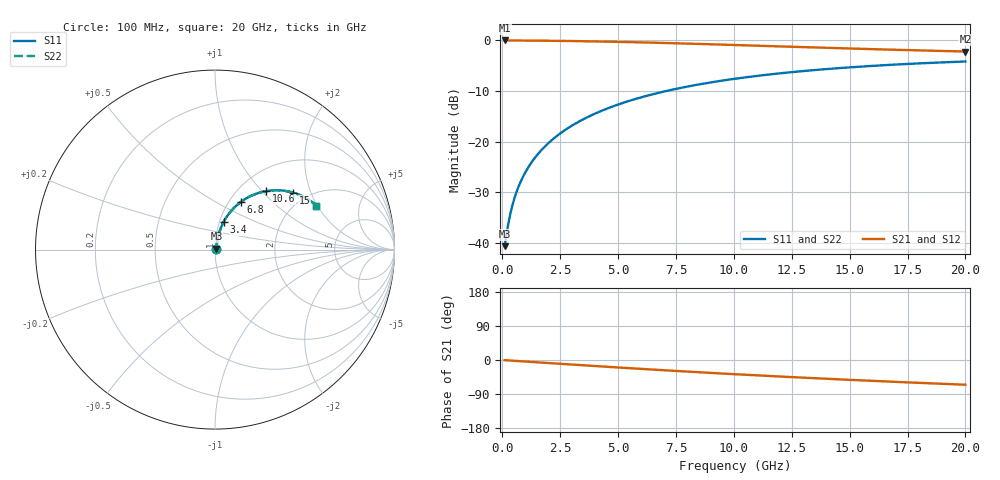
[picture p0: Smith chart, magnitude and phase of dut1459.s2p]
! Touchstone file exported from HFSS 2026.1.0
!  File:  C:/ffzhzh/LocalFiles/Ansys_Project_Files/temp_train_BSMRDL_1459_1783180872_43440.aedt
!  Generated:  12:02:40 AM Jul  5, 2026
!  Design:  BSMRDL
!  Project:  temp_train_BSMRDL_1459_1783180872_43440
! Variables:
!  h_bsmrdl = 2.83um
!  h_ox = 20um
!  h_rdl = 5um
!  h_sub = 80um
!  h_tmrdl = 5um
!  h_tsv = 80um
!  h_via = 3um
!  l_bsmrdl = 989.82um
!  l_sub = 1389.82um
!  l_tmrdl = 200um
!  m_sub = 200um
!  pitch = 51.94um
!  r_tsv = 6um
!  s_tmrdl = 10um
!  w_bsmrdl = 15.9um
!  w_sub = 500um
!  w_tmrdl = 12um
!  x_tsv_center1 = 206um
!  x_tsv_center2 = 1211.72um
!  x_tsv_center3 = 1423.72um
!  x_tsv_center4 = 2429.44um
!  x_tsv_center5 = 2641.44um
!  x_tsv_center6 = 3647.16um
# GHz S MA R 50.000000
! Terminal data exported
! Port[1] = BSM_RDL1_1_T1
! Port[2] = BSM_RDL1_1_T2
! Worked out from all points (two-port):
!   200 points, 100 MHz to 20 GHz, reference 50 ohm
!   highest |S21| = -0.07 dB at 100 MHz (marker M1); lowest = -2.2 dB at 20 GHz (marker M2)
!   |S21| within 3 dB of the highest: start of sweep to end of sweep
!   lowest |S11| = -40.6 dB at 100 MHz (marker M3), VSWR 1.02, Z = 50.8 + j0.519 ohm
!   |S11| at or under -10 dB: start of sweep to 7.099 GHz
!   |S22| runs from -40.6 to -4.2 dB; largest |S21 - S12| = 4.5e-15
!   S11 on the Smith chart (normalised r, x): 100 MHz: 1.02, +0.01; 3.4 GHz: 1.05, +0.33; 6.8 GHz: 1.13, +0.67; 10.6 GHz: 1.32, +1.06; 15 GHz: 1.69, +1.52; 20 GHz: 2.49, +1.97
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0.1  0.009363 33.0  0.9922 -0.4  0.9922 -0.4  0.009363 33.0
! Gamma 0 0 0 0
! Port Impedance 50 0 50 0
0.2  0.01299 51.5  0.992 -0.8  0.992 -0.8  0.01299 51.5
0.3  0.01736 60.8  0.9917 -1.3  0.9917 -1.3  0.01736 60.8
0.4  0.02196 66.0  0.9914 -1.7  0.9914 -1.7  0.02196 66.0
0.5  0.02663 69.2  0.9911 -2.1  0.9911 -2.1  0.02663 69.2
0.6  0.03133 71.3  0.9908 -2.5  0.9908 -2.5  0.03133 71.3
0.8  0.04073 73.9  0.9902 -3.3  0.9902 -3.3  0.04073 73.9
1.1  0.05485 75.7  0.9892 -4.5  0.9892 -4.5  0.05485 75.7
1.6  0.07841 76.4  0.9872 -6.5  0.9872 -6.5  0.07841 76.4
2.1  0.1019 75.9  0.9849 -8.5  0.9849 -8.5  0.1019 75.9
2.7  0.1298 74.6  0.9813 -10.8  0.9813 -10.8  0.1298 74.6
3.4  0.1619 72.7  0.9763 -13.6  0.9763 -13.6  0.1619 72.7
3.5  0.1664 72.4  0.9755 -14.0  0.9755 -14.0  0.1664 72.3
5  0.2321 67.4  0.9613 -19.7  0.9613 -19.7  0.2321 67.4
6.8  0.3049 61.3  0.9399 -26.4  0.9399 -26.4  0.3049 61.3
8.3  0.3596 56.2  0.9198 -31.7  0.9198 -31.7  0.3596 56.2
10.1  0.4181 50.4  0.8942 -37.7  0.8942 -37.7  0.4181 50.4
10.6  0.4329 48.8  0.887 -39.3  0.887 -39.3  0.4329 48.8
13.4  0.5054 40.5  0.8476 -47.8  0.8476 -47.8  0.5054 40.5
15  0.5393 36.1  0.8266 -52.4  0.8266 -52.4  0.5393 36.0
16.7  0.5699 31.6  0.806 -57.0  0.806 -57.0  0.57 31.5
20  0.6159 23.4  0.7723 -65.3  0.7723 -65.3  0.6159 23.4
